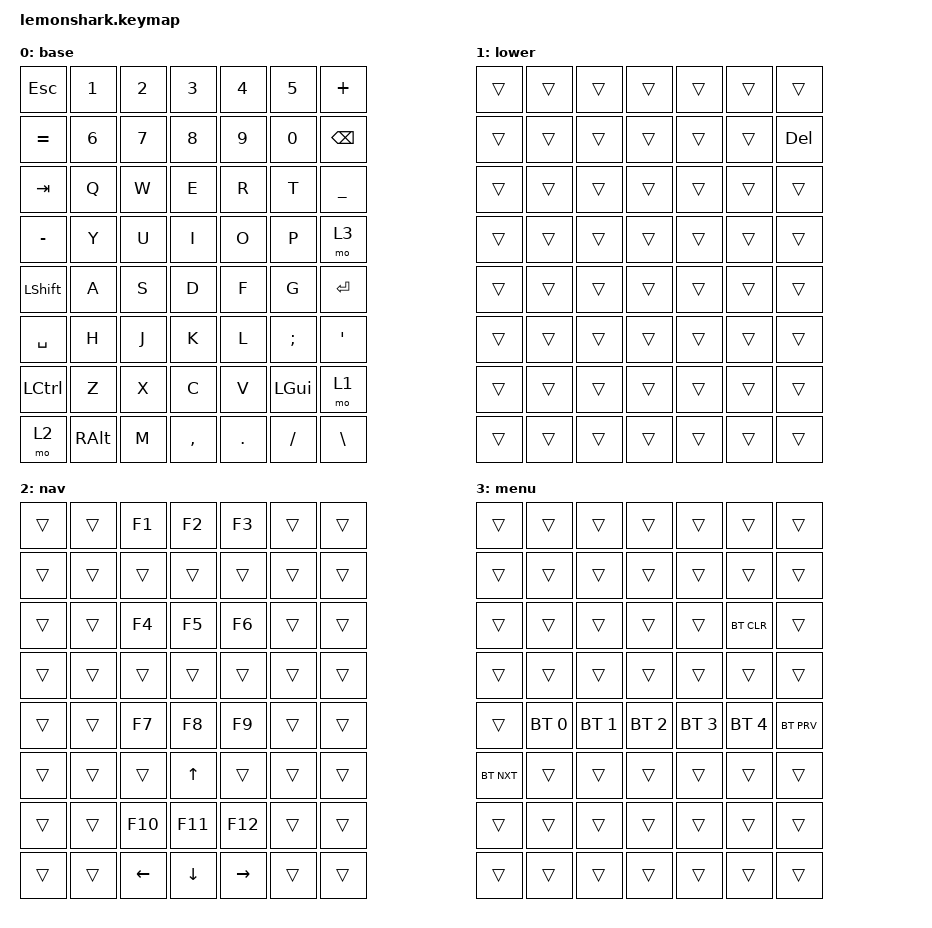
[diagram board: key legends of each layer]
#include <behaviors.dtsi>
#include <dt-bindings/zmk/bt.h>
#include <dt-bindings/zmk/keys.h>

/ {
    combos {
        compatible = "zmk,combos";

        combo_v {
            bindings = <&kp B>;
            key-positions = <45 46>;
            layers = <0>;
        };

        combo_n {
            bindings = <&kp N>;
            key-positions = <51 52>;
            layers = <0>;
        };

        par1 {
            bindings = <&kp LEFT_PARENTHESIS>;
            key-positions = <18 17>;
            layers = <0>;
        };

        par2 {
            bindings = <&kp RIGHT_PARENTHESIS>;
            key-positions = <23 24>;
            layers = <0>;
        };

        cur1 {
            bindings = <&kp LEFT_BRACE>;
            key-positions = <46 44>;
            layers = <0>;
        };

        cur2 {
            bindings = <&kp RIGHT_BRACE>;
            key-positions = <51 53>;
            layers = <0>;
        };

        bracket1 {
            bindings = <&kp LEFT_BRACKET>;
            key-positions = <31 32>;
            layers = <0>;
        };

        bracket2 {
            bindings = <&kp RIGHT_BRACKET>;
            key-positions = <37 38>;
            layers = <0>;
        };

        alttab {
            bindings = <&alttab>;
            key-positions = <48 14>;
            layers = <0>;
        };
    };

    behaviors {
        enter: enter {
            compatible = "zmk,behavior-mod-morph";
            label = "ENTER";
            bindings = <&kp BSPC>, <&kp RET>;

            #binding-cells = <0>;
            mods = <(MOD_RALT)>;
        };

        space_del: space_del {
            compatible = "zmk,behavior-mod-morph";
            label = "SPACE_DEL";
            bindings = <&kp SPACE>, <&kp DELETE>;

            #binding-cells = <0>;
            mods = <(MOD_LSFT)>;
        };

        game_mode: game_mode {
            compatible = "zmk,behavior-toggle-layer";
            label = "GAME_MODE";
            #binding-cells = <1>;
            toggle-mode = "flip";
        };

        hrm_index: hrm_index {
            compatible = "zmk,behavior-hold-tap";
            label = "HRM_INDEX";
            bindings = <&kp>, <&kp>;

            #binding-cells = <2>;
            hold-trigger-key-positions = <32>;
            tapping-term-ms = <300>;
            flavor = "tap-preferred";
        };
    };

    macros {
        alttab: alttab {
            compatible = "zmk,behavior-macro";
            #binding-cells = <0>;
            bindings = <&kp LEFT_ALT &kp TAB>;
            label = "ALTTAB";
        };
    };

    keymap {
        compatible = "zmk,keymap";

        base {
            bindings = <
&kp ESC           &kp N1  &kp N2  &kp N3  &kp N4  &kp N5    &kp PLUS
                                                                       &kp EQUAL  &kp N6    &kp N7  &kp N8     &kp N9   &kp N0    &kp BACKSPACE
&kp TAB           &kp Q   &kp W   &kp E   &kp R   &kp T     &kp UNDER
                                                                       &kp MINUS  &kp Y     &kp U   &kp I      &kp O    &kp P     &mo 3
&kp LEFT_SHIFT    &kp A   &kp S   &kp D   &kp F   &kp G     &kp RET
                                                                       &kp SPACE  &kp H     &kp J   &kp K      &kp L    &kp SEMI  &kp SQT
&kp LEFT_CONTROL  &kp Z   &kp X   &kp C   &kp V   &kp LGUI  &mo 1
                                                                       &mo 2      &kp RALT  &kp M   &kp COMMA  &kp DOT  &kp FSLH  &kp BACKSLASH
            >;

            label = "base";
        };

        lower {
            label = "lower";
            bindings = <
&trans  &trans  &trans  &trans  &trans  &trans  &trans
                                                        &trans  &trans  &trans  &trans  &trans  &trans  &kp DEL
&trans  &trans  &trans  &trans  &trans  &trans  &trans
                                                        &trans  &trans  &trans  &trans  &trans  &trans  &trans
&trans  &trans  &trans  &trans  &trans  &trans  &trans
                                                        &trans  &trans  &trans  &trans  &trans  &trans  &trans
&trans  &trans  &trans  &trans  &trans  &trans  &trans
                                                        &trans  &trans  &trans  &trans  &trans  &trans  &trans
            >;
        };

        nav {
            bindings = <
&trans  &trans  &kp F1   &kp F2   &kp F3   &trans  &trans
                                                           &trans  &trans  &trans          &trans    &trans           &trans  &trans
&trans  &trans  &kp F4   &kp F5   &kp F6   &trans  &trans
                                                           &trans  &trans  &trans          &trans    &trans           &trans  &trans
&trans  &trans  &kp F7   &kp F8   &kp F9   &trans  &trans
                                                           &trans  &trans  &trans          &kp UP    &trans           &trans  &trans
&trans  &trans  &kp F10  &kp F11  &kp F12  &trans  &trans
                                                           &trans  &trans  &kp LEFT_ARROW  &kp DOWN  &kp RIGHT_ARROW  &trans  &trans
            >;

            label = "nav";
        };

        menu {
            bindings = <
&trans  &trans        &trans        &trans        &trans        &trans        &trans
                                                                                          &trans      &trans  &trans  &trans  &trans  &trans  &trans
&trans  &trans        &trans        &trans        &trans        &bt BT_CLR    &trans
                                                                                          &trans      &trans  &trans  &trans  &trans  &trans  &trans
&trans  &bt BT_SEL 0  &bt BT_SEL 1  &bt BT_SEL 2  &bt BT_SEL 3  &bt BT_SEL 4  &bt BT_PRV
                                                                                          &bt BT_NXT  &trans  &trans  &trans  &trans  &trans  &trans
&trans  &trans        &trans        &trans        &trans        &trans        &trans
                                                                                          &trans      &trans  &trans  &trans  &trans  &trans  &trans
            >;

            label = "menu";
        };
    };

    conditional_layers { compatible = "zmk,conditional-layers"; };
};
